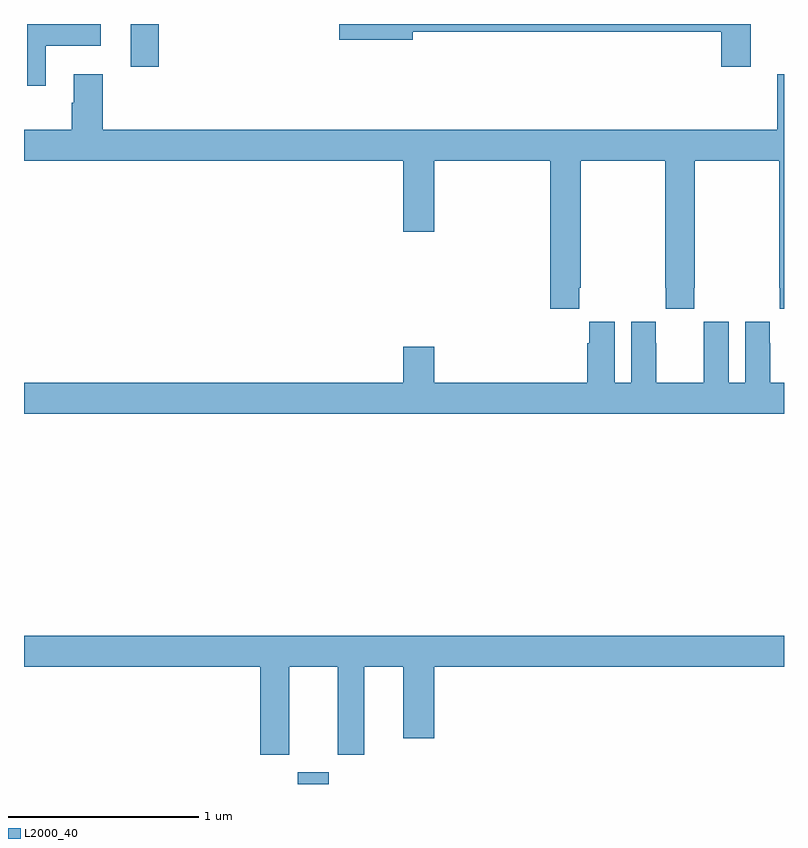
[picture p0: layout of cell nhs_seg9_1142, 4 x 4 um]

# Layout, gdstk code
import gdstk
lib = gdstk.Library(unit=1e-6, precision=1e-09)
def R(c, l, rs):  # rectangles x0, y0, x1, y1
    for r in rs: c.add(gdstk.rectangle(r[:2], r[2:], *l))
def P(c, l, *ps):  # polygons
    for p in ps: c.add(gdstk.Polygon(p, *l))
L2000_40 = (2000, 40)

nhs_seg9_1142 = lib.new_cell('nhs_seg9_1142')
R(nhs_seg9_1142, L2000_40, [(176.441,1166.5,176.605,1166.563), (175.562,1170.276,175.709,1170.5)])
P(nhs_seg9_1142, L2000_40, [(178.824,1170.5),(176.658,1170.5),(176.658,1170.418),(177.046,1170.418),(177.046,1170.46),(178.67,1170.46),(178.67,1170.276),(178.824,1170.276)],
  [(175.114,1170.386),(175.405,1170.386),(175.405,1170.5),(175.017,1170.5),(175.017,1170.174),(175.114,1170.174)],
  [(177.923,1169.113),(177.93,1169.113),(177.93,1169.78),(178.375,1169.78),(178.375,1169.113),(178.377,1169.113),(178.377,1169.001),(178.527,1169.001),(178.527,1169.113),(178.53,1169.113),(178.53,1169.78),(178.975,1169.78),(178.975,1169.113),(178.977,1169.113),(178.977,1169.001),(179,1169.001),(179,1170.235),(178.964,1170.235),(178.964,1169.944),(175.415,1169.944),(175.415,1170.235),(175.262,1170.235),(175.262,1170.086),(175.25,1170.086),(175.25,1169.944),(175,1169.944),(175,1169.78),(176.996,1169.78),(176.996,1169.406),(177.16,1169.406),(177.16,1169.78),(177.77,1169.78),(177.77,1169.001),(177.923,1169.001)],
  [(179,1168.612),(178.927,1168.612),(178.927,1168.82),(178.926,1168.82),(178.926,1168.933),(178.796,1168.933),(178.796,1168.612),(178.708,1168.612),(178.708,1168.933),(178.578,1168.933),(178.578,1168.82),(178.577,1168.82),(178.577,1168.612),(178.327,1168.612),(178.327,1168.82),(178.326,1168.82),(178.326,1168.933),(178.196,1168.933),(178.196,1168.612),(178.108,1168.612),(178.108,1168.933),(177.974,1168.933),(177.974,1168.82),(177.965,1168.82),(177.965,1168.612),(177.16,1168.612),(177.16,1168.801),(176.996,1168.801),(176.996,1168.612),(175,1168.612),(175,1168.448),(179,1168.448)],
  [(176.395,1167.116),(176.651,1167.116),(176.651,1166.655),(176.791,1166.655),(176.791,1167.116),(176.996,1167.116),(176.996,1166.742),(177.16,1166.742),(177.16,1167.116),(179,1167.116),(179,1167.28),(175,1167.28),(175,1167.116),(176.243,1167.116),(176.243,1166.655),(176.395,1166.655)])

lib.write_gds('nhs_seg9_1142.gds')
